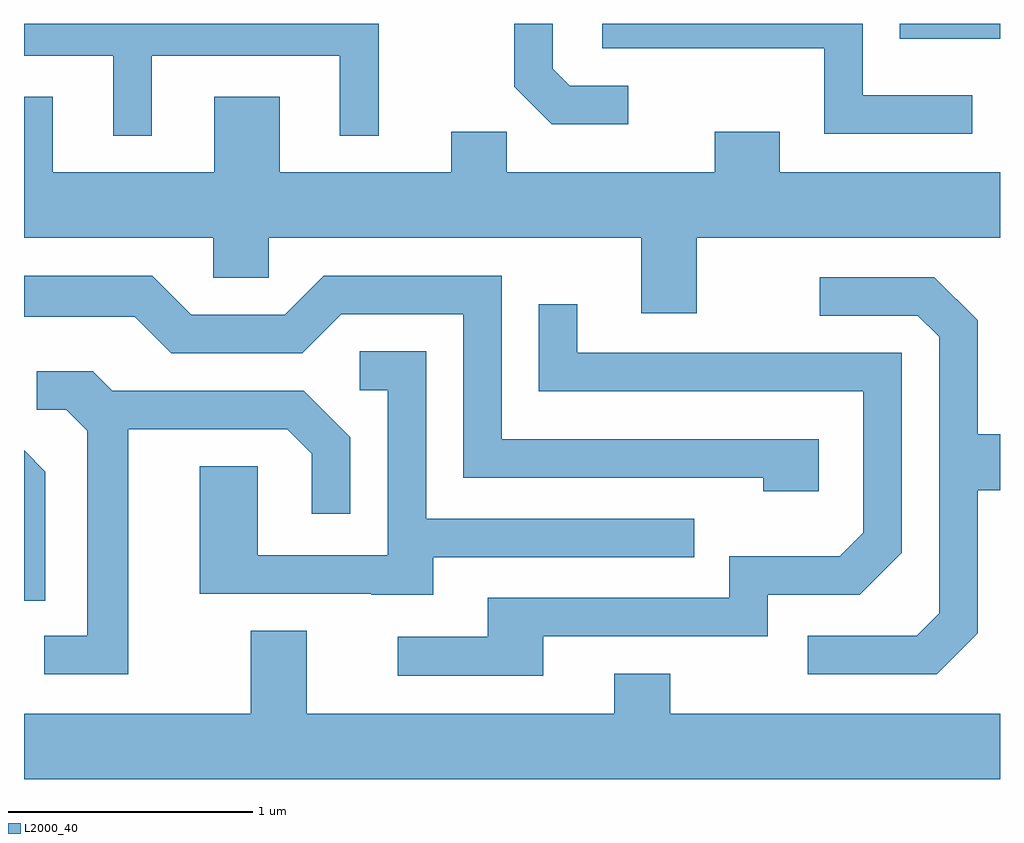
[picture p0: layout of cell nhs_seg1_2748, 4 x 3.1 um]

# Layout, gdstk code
import gdstk
lib = gdstk.Library(unit=1e-6, precision=1e-09)
def R(c, l, rs):  # rectangles x0, y0, x1, y1
    for r in rs: c.add(gdstk.rectangle(r[:2], r[2:], *l))
def P(c, l, *ps):  # polygons
    for p in ps: c.add(gdstk.Polygon(p, *l))
L2000_40 = (2000, 40)

nhs_seg1_2748 = lib.new_cell('nhs_seg1_2748')
R(nhs_seg1_2748, L2000_40, [(271.201,973.651,271.611,973.712)])
P(nhs_seg1_2748, L2000_40, [(268.134,973.581),(268.906,973.581),(268.906,973.253),(269.064,973.253),(269.064,973.712),(267.611,973.712),(267.611,973.581),(267.976,973.581),(267.976,973.253),(268.134,973.253)],
  [(271.498,973.419),(271.049,973.419),(271.049,973.712),(269.981,973.712),(269.981,973.611),(270.891,973.611),(270.891,973.261),(271.498,973.261)],
  [(270.088,973.459),(269.847,973.459),(269.779,973.527),(269.779,973.712),(269.621,973.712),(269.621,973.454),(269.774,973.301),(270.088,973.301)],
  [(270.369,972.836),(271.611,972.836),(271.611,973.104),(270.709,973.104),(270.709,973.269),(270.441,973.269),(270.441,973.104),(269.589,973.104),(269.589,973.269),(269.361,973.269),(269.361,973.104),(268.659,973.104),(268.659,973.414),(268.391,973.414),(268.391,973.104),(267.729,973.104),(267.729,973.414),(267.611,973.414),(267.611,972.836),(268.386,972.836),(268.386,972.671),(268.614,972.671),(268.614,972.836),(270.141,972.836),(270.141,972.526),(270.369,972.526)],
  [(270.869,972.009),(269.569,972.009),(269.569,972.679),(268.839,972.679),(268.679,972.519),(268.297,972.519),(268.137,972.679),(267.611,972.679),(267.611,972.511),(268.064,972.511),(268.214,972.361),(268.752,972.361),(268.912,972.521),(269.411,972.521),(269.411,971.851),(270.641,971.851),(270.641,971.796),(270.869,971.796)],
  [(271.519,971.214),(271.519,971.801),(271.611,971.801),(271.611,972.029),(271.519,972.029),(271.519,972.497),(271.342,972.674),(270.873,972.674),(270.873,972.516),(271.274,972.516),(271.361,972.429),(271.361,971.297),(271.269,971.204),(270.823,971.204),(270.823,971.046),(271.352,971.046)],
  [(269.739,971.201),(270.659,971.201),(270.659,971.371),(271.037,971.371),(271.209,971.544),(271.209,972.364),(269.879,972.364),(269.879,972.563),(269.721,972.563),(269.721,972.206),(271.051,972.206),(271.051,971.627),(270.954,971.529),(270.501,971.529),(270.501,971.359),(269.511,971.359),(269.511,971.199),(269.143,971.199),(269.143,971.041),(269.739,971.041)],
  [(269.289,971.526),(270.358,971.526),(270.358,971.684),(269.259,971.684),(269.259,972.369),(268.988,972.369),(268.988,972.211),(269.101,972.211),(269.101,971.534),(268.569,971.534),(268.569,971.899),(268.331,971.899),(268.331,971.376),(269.035,971.376),(269.035,971.371),(269.289,971.371)],
  [(268.039,972.051),(268.689,972.051),(268.791,971.949),(268.791,971.703),(268.949,971.703),(268.949,972.017),(268.757,972.209),(267.972,972.209),(267.892,972.289),(267.663,972.289),(267.663,972.131),(267.784,972.131),(267.871,972.044),(267.871,971.204),(267.693,971.204),(267.693,971.046),(268.039,971.046)],
  [(267.699,971.877),(267.611,971.965),(267.611,971.348),(267.699,971.348)],
  [(271.611,970.884),(270.259,970.884),(270.259,971.049),(270.031,971.049),(270.031,970.884),(268.769,970.884),(268.769,971.224),(268.541,971.224),(268.541,970.884),(267.611,970.884),(267.611,970.616),(271.611,970.616)])

lib.write_gds('nhs_seg1_2748.gds')
